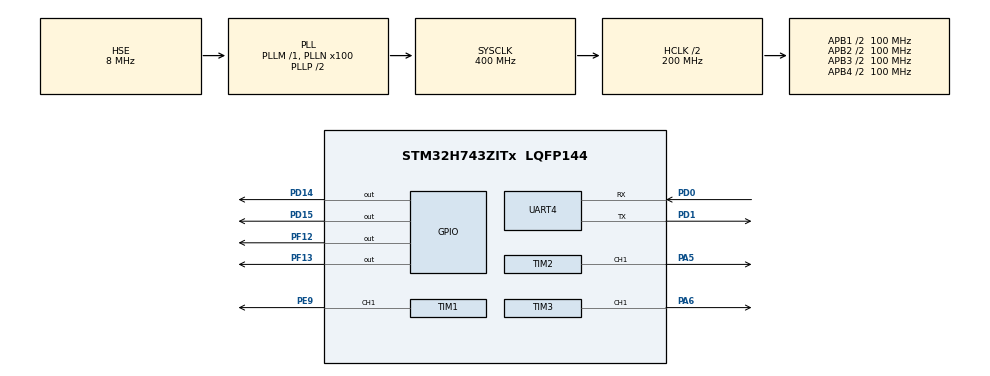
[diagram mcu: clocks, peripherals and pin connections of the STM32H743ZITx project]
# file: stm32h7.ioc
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Dma.Request0=UART4_RX
Dma.Request1=UART4_TX
Dma.UART4_RX.0.Direction=DMA_PERIPH_TO_MEMORY
Dma.UART4_RX.0.EventEnable=DISABLE
Dma.UART4_RX.0.FIFOMode=DMA_FIFOMODE_DISABLE
Dma.UART4_RX.0.Instance=DMA1_Stream0
Dma.UART4_RX.0.MemDataAlignment=DMA_MDATAALIGN_BYTE
Dma.UART4_RX.0.MemInc=DMA_MINC_ENABLE
Dma.UART4_RX.0.Mode=DMA_CIRCULAR
Dma.UART4_RX.0.PeriphDataAlignment=DMA_PDATAALIGN_BYTE
Dma.UART4_RX.0.PeriphInc=DMA_PINC_DISABLE
Dma.UART4_RX.0.Polarity=HAL_DMAMUX_REQ_GEN_RISING
Dma.UART4_RX.0.Priority=DMA_PRIORITY_LOW
Dma.UART4_RX.0.RequestNumber=1
Dma.UART4_RX.0.SyncEnable=DISABLE
Dma.UART4_RX.0.SyncPolarity=HAL_DMAMUX_SYNC_NO_EVENT
Dma.UART4_RX.0.SyncRequestNumber=1
Dma.UART4_TX.1.Direction=DMA_MEMORY_TO_PERIPH
Dma.UART4_TX.1.EventEnable=DISABLE
Dma.UART4_TX.1.FIFOMode=DMA_FIFOMODE_DISABLE
Dma.UART4_TX.1.Instance=DMA1_Stream1
Dma.UART4_TX.1.MemDataAlignment=DMA_MDATAALIGN_BYTE
Dma.UART4_TX.1.MemInc=DMA_MINC_ENABLE
Dma.UART4_TX.1.Mode=DMA_CIRCULAR
Dma.UART4_TX.1.PeriphDataAlignment=DMA_PDATAALIGN_BYTE
Dma.UART4_TX.1.PeriphInc=DMA_PINC_DISABLE
Dma.UART4_TX.1.Polarity=HAL_DMAMUX_REQ_GEN_RISING
Dma.UART4_TX.1.Priority=DMA_PRIORITY_LOW
Dma.UART4_TX.1.RequestNumber=1
Dma.UART4_TX.1.SyncEnable=DISABLE
Dma.UART4_TX.1.SyncPolarity=HAL_DMAMUX_SYNC_NO_EVENT
Dma.UART4_TX.1.SyncRequestNumber=1
Mcu.Family=STM32H7
Mcu.Name=STM32H743ZITx
Mcu.Package=LQFP144
NVIC.DMA1_Stream0_IRQn=true\:0\:0\:false\:false\:true\:false
NVIC.DMA1_Stream1_IRQn=true\:0\:0\:false\:false\:true\:false
NVIC.PriorityGroup=NVIC_PRIORITYGROUP_4
PA13.Mode=Serial_Wire
PA13.Signal=SYS_JTMS-SWDIO
PA14.Mode=Serial_Wire
PA14.Signal=SYS_JTCK-SWCLK
PA5.GPIO_Speed=GPIO_SPEED_FREQ_VERY_HIGH
PA5.Signal=S_TIM2_CH1
PA6.GPIO_Speed=GPIO_SPEED_FREQ_VERY_HIGH
PA6.Signal=S_TIM3_CH1
PD0.GPIO_ModeDefaultPP=GPIO_MODE_AF_PP
PD0.GPIO_PuPd=GPIO_NOPULL
PD0.GPIO_Speed=GPIO_SPEED_FREQ_VERY_HIGH
PD0.Mode=Asynchronous
PD0.Signal=UART4_RX
PD1.GPIO_ModeDefaultPP=GPIO_MODE_AF_PP
PD1.GPIO_PuPd=GPIO_NOPULL
PD1.GPIO_Speed=GPIO_SPEED_FREQ_VERY_HIGH
PD1.Mode=Asynchronous
PD1.Signal=UART4_TX
PD14.GPIO_ModeDefaultOutputPP=GPIO_MODE_OUTPUT_PP
PD14.GPIO_PuPd=GPIO_NOPULL
PD14.GPIO_Speed=GPIO_SPEED_FREQ_VERY_HIGH
PD14.PinState=GPIO_PIN_SET
PD14.Signal=GPIO_Output
PD15.GPIO_Speed=GPIO_SPEED_FREQ_VERY_HIGH
PD15.PinState=GPIO_PIN_SET
PD15.Signal=GPIO_Output
PE9.GPIO_Speed=GPIO_SPEED_FREQ_VERY_HIGH
PE9.Signal=S_TIM1_CH1
PF12.GPIO_Speed=GPIO_SPEED_FREQ_VERY_HIGH
PF12.Signal=GPIO_Output
PF13.GPIO_Speed=GPIO_SPEED_FREQ_VERY_HIGH
PF13.Signal=GPIO_Output
PH0-OSC_IN.Mode=HSE-External-Oscillator
PH0-OSC_IN.Signal=RCC_OSC_IN
PH1-OSC_OUT.Mode=HSE-External-Oscillator
PH1-OSC_OUT.Signal=RCC_OSC_OUT
ProjectManager.HeapSize=0x200
ProjectManager.StackSize=0x400
ProjectManager.TargetToolchain=MDK-ARM V5
RCC.48MHZClocksFreq_Value=24000000
RCC.ADCFreq_Value=16125000
RCC.AHBFreq_Value=216000000
RCC.APB1CLKDivider=RCC_HCLK_DIV4
RCC.APB1Freq_Value=100000000
RCC.APB1TimFreq_Value=108000000
RCC.APB2CLKDivider=RCC_HCLK_DIV2
RCC.APB2Freq_Value=100000000
RCC.APB2TimFreq_Value=216000000
RCC.APB3Freq_Value=100000000
RCC.APB4Freq_Value=100000000
RCC.CortexFreq_Value=400000000
RCC.D1PPRE=RCC_APB3_DIV2
RCC.D2PPRE1=RCC_APB1_DIV2
RCC.D2PPRE2=RCC_APB2_DIV2
RCC.D3PPRE=RCC_APB4_DIV2
RCC.DIVM1=1
RCC.DIVN1=100
RCC.DIVQ1=4
RCC.HCLKFreq_Value=200000000
RCC.HPRE=RCC_HCLK_DIV2
RCC.HSE_VALUE=8000000
RCC.HSI_VALUE=64000000
RCC.PLLM=25
RCC.PLLMUL=RCC_PLL_MUL9
RCC.PLLN=432
RCC.PLLQ=9
RCC.PLLSourceVirtual=RCC_PLLSOURCE_HSE
RCC.PRESCALERUSB=RCC_USBCLKSOURCE_PLL_DIV1_5
RCC.SYSCLKFreq_VALUE=400000000
RCC.SYSCLKSource=RCC_SYSCLKSOURCE_PLLCLK
RCC.SYSCLKSourceVirtual=RCC_SYSCLKSOURCE_PLLCLK
RCC.USBFreq_Value=200000000
RCC.VCOOutputFreq_Value=432000000
SH.S_TIM1_CH1.0=TIM1_CH1,PWM Generation1 CH1
SH.S_TIM2_CH1.0=TIM2_CH1,PWM Generation1 CH1
SH.S_TIM3_CH1.0=TIM3_CH1,PWM Generation1 CH1
TIM1.Channel-PWM\ Generation1\ CH1=TIM_CHANNEL_1
TIM1.Period=65000
TIM1.Prescaler=400
TIM1.TIM_MasterOutputTrigger=TIM_TRGO_UPDATE
TIM2.Channel-PWM\ Generation1\ CH1=TIM_CHANNEL_1
TIM2.Period=65000
TIM2.Prescaler=400
TIM2.TIM_MasterOutputTrigger=TIM_TRGO_UPDATE
TIM3.Channel-PWM\ Generation1\ CH1=TIM_CHANNEL_1
TIM3.Period=65000
TIM3.Prescaler=400
TIM3.TIM_MasterOutputTrigger=TIM_TRGO_UPDATE
TIM4.Period=65535
TIM5.Period=65535
TIM8.Period=65535
VP_TIM1_VS_ClockSourceINT.Mode=Internal
VP_TIM2_VS_ClockSourceINT.Mode=Internal
VP_TIM3_VS_ClockSourceINT.Mode=Internal
VP_TIM4_VS_ClockSourceITR.Mode=TriggerSource_ITR1
VP_TIM4_VS_ControllerModeClock.Mode=Clock Mode
VP_TIM5_VS_ClockSourceITR.Mode=TriggerSource_ITR2
VP_TIM5_VS_ControllerModeClock.Mode=Clock Mode
VP_TIM8_VS_ClockSourceITR.Mode=TriggerSource_ITR0
VP_TIM8_VS_ControllerModeClock.Mode=Clock Mode
board=NUCLEO-H743ZI

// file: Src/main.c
/**
  ******************************************************************************
  * @file           : main.c
  * @brief          : Main program body
  ******************************************************************************
  ** This notice applies to any and all portions of this file
  * that are not between comment pairs USER CODE BEGIN and
  * USER CODE END. Other portions of this file, whether
  * inserted by the user or by software development tools
  * are owned by their respective copyright owners.
  *
  * COPYRIGHT(c) 2018 STMicroelectronics
  *
  * Redistribution and use in source and binary forms, with or without modification,
  * are permitted provided that the following conditions are met:
  *   1. Redistributions of source code must retain the above copyright notice,
  *      this list of conditions and the following disclaimer.
  *   2. Redistributions in binary form must reproduce the above copyright notice,
  *      this list of conditions and the following disclaimer in the documentation
  *      and/or other materials provided with the distribution.
  *   3. Neither the name of STMicroelectronics nor the names of its contributors
  *      may be used to endorse or promote products derived from this software
  *      without specific prior written permission.
  *
  * THIS SOFTWARE IS PROVIDED BY THE COPYRIGHT HOLDERS AND CONTRIBUTORS "AS IS"
  * AND ANY EXPRESS OR IMPLIED WARRANTIES, INCLUDING, BUT NOT LIMITED TO, THE
  * IMPLIED WARRANTIES OF MERCHANTABILITY AND FITNESS FOR A PARTICULAR PURPOSE ARE
  * DISCLAIMED. IN NO EVENT SHALL THE COPYRIGHT HOLDER OR CONTRIBUTORS BE LIABLE
  * FOR ANY DIRECT, INDIRECT, INCIDENTAL, SPECIAL, EXEMPLARY, OR CONSEQUENTIAL
  * DAMAGES (INCLUDING, BUT NOT LIMITED TO, PROCUREMENT OF SUBSTITUTE GOODS OR
  * SERVICES; LOSS OF USE, DATA, OR PROFITS; OR BUSINESS INTERRUPTION) HOWEVER
  * CAUSED AND ON ANY THEORY OF LIABILITY, WHETHER IN CONTRACT, STRICT LIABILITY,
  * OR TORT (INCLUDING NEGLIGENCE OR OTHERWISE) ARISING IN ANY WAY OUT OF THE USE
  * OF THIS SOFTWARE, EVEN IF ADVISED OF THE POSSIBILITY OF SUCH DAMAGE.
  *
  ******************************************************************************
  */
#include "main.h"
#include "stm32h7xx_hal.h"
#include "dma.h"
#include "tim.h"
#include "usart.h"
#include "gpio.h"

/* USER CODE BEGIN Includes */
#include "run.c"
#include "string.h"

/* USER CODE END Includes */

/* USER CODE BEGIN PV */
/* Private variables ---------------------------------------------------------*/

/* USER CODE END PV */

void SystemClock_Config(void);

/* USER CODE BEGIN PFP */
/* Private function prototypes -----------------------------------------------*/

/* USER CODE END PFP */

/* USER CODE BEGIN 0 */
uint8_t rx_buff[9];
int run1=0;
int run2=0;
int run3=0;
int basee=365;
int goc_measured_1=0,goc_measured_2=0,goc_measured_3=0;
/* USER CODE END 0 */

int main(void)
{

  /* MCU Configuration----------------------------------------------------------*/

  /* Reset of all peripherals, Initializes the Flash interface and the Systick. */
  HAL_Init();

  /* Configure the system clock */
  SystemClock_Config();

  /* Initialize all configured peripherals */
  MX_GPIO_Init();
  MX_DMA_Init();
  MX_TIM2_Init();
  MX_TIM3_Init();
  MX_TIM4_Init();
  MX_TIM5_Init();
  MX_TIM8_Init();
  MX_TIM1_Init();
  MX_UART4_Init();
  /* USER CODE BEGIN 2 */
	HAL_TIM_Base_Start(&htim3);
	HAL_TIM_Base_Start(&htim8);
	HAL_TIM_Base_Start(&htim2);
	HAL_TIM_Base_Start(&htim4);
	HAL_TIM_Base_Start(&htim1);
	HAL_TIM_Base_Start(&htim5);

	HAL_TIM_PWM_Start(&htim1,TIM_CHANNEL_1);
	HAL_TIM_PWM_Start(&htim2,TIM_CHANNEL_1);
	HAL_TIM_PWM_Start(&htim3,TIM_CHANNEL_1);

	__HAL_TIM_SET_COMPARE(&htim1,TIM_CHANNEL_1,80);
	__HAL_TIM_SET_COMPARE(&htim3,TIM_CHANNEL_1,80);
	__HAL_TIM_SET_COMPARE(&htim2,TIM_CHANNEL_1,80);

	HAL_UART_Receive_DMA(&huart4,rx_buff,9);

	HAL_Delay(10);
  /* USER CODE END 2 */

  /* Infinite loop */
  /* USER CODE BEGIN WHILE */
  while (1)
  {
		while(rx_buff[0]==NULL)
		{
			goc_measured_1=TIM8->CNT;
			goc_measured_2=TIM4->CNT;
			goc_measured_3=TIM5->CNT;

			run_stepper(1,basee-goc_measured_1);
			run_stepper(2,basee-goc_measured_2);
			run_stepper(3,basee-goc_measured_3);
		}
		while(rx_buff[0]=='a')
		{
			goc_measured_1=TIM8->CNT;
			goc_measured_2=TIM4->CNT;
			goc_measured_3=TIM5->CNT;

			run_stepper(1,basee-goc_measured_1);
			run_stepper(2,basee-goc_measured_2);
			run_stepper(3,basee-goc_measured_3);
		}

			run1=rx_buff[0]*100+rx_buff[1]*10+rx_buff[2]-5328;
			run2=rx_buff[3]*100+rx_buff[4]*10+rx_buff[5]-5328;
			run3=rx_buff[6]*100+rx_buff[7]*10+rx_buff[8]-5328;

			goc_measured_1=TIM8->CNT;
			goc_measured_2=TIM4->CNT;
			goc_measured_3=TIM5->CNT;

			run_stepper(1,run1-TIM8->CNT);
			run_stepper(2,run2-TIM4->CNT);
			run_stepper(3,run3-TIM5->CNT);

  /* USER CODE END WHILE */

  }

}

void SystemClock_Config(void)
{

  RCC_OscInitTypeDef RCC_OscInitStruct;
  RCC_ClkInitTypeDef RCC_ClkInitStruct;
  RCC_PeriphCLKInitTypeDef PeriphClkInitStruct;

    /**Supply configuration update enable
    */
  MODIFY_REG(PWR->CR3, PWR_CR3_SCUEN, 0);

    /**Configure the main internal regulator output voltage
    */
  __HAL_PWR_VOLTAGESCALING_CONFIG(PWR_REGULATOR_VOLTAGE_SCALE1);

  while ((PWR->D3CR & (PWR_D3CR_VOSRDY)) != PWR_D3CR_VOSRDY)
  {

  }
    /**Initializes the CPU, AHB and APB busses clocks
    */
  RCC_OscInitStruct.OscillatorType = RCC_OSCILLATORTYPE_HSE;
  RCC_OscInitStruct.HSEState = RCC_HSE_ON;
  RCC_OscInitStruct.PLL.PLLState = RCC_PLL_ON;
  RCC_OscInitStruct.PLL.PLLSource = RCC_PLLSOURCE_HSE;
  RCC_OscInitStruct.PLL.PLLM = 1;
  RCC_OscInitStruct.PLL.PLLN = 100;
  RCC_OscInitStruct.PLL.PLLP = 2;
  RCC_OscInitStruct.PLL.PLLQ = 4;
  RCC_OscInitStruct.PLL.PLLR = 2;
  RCC_OscInitStruct.PLL.PLLRGE = RCC_PLL1VCIRANGE_3;
  RCC_OscInitStruct.PLL.PLLVCOSEL = RCC_PLL1VCOWIDE;
  RCC_OscInitStruct.PLL.PLLFRACN = 0;
  if (HAL_RCC_OscConfig(&RCC_OscInitStruct) != HAL_OK)
  {
    _Error_Handler(__FILE__, __LINE__);
  }

    /**Initializes the CPU, AHB and APB busses clocks
    */
  RCC_ClkInitStruct.ClockType = RCC_CLOCKTYPE_HCLK|RCC_CLOCKTYPE_SYSCLK
                              |RCC_CLOCKTYPE_PCLK1|RCC_CLOCKTYPE_PCLK2
                              |RCC_CLOCKTYPE_D3PCLK1|RCC_CLOCKTYPE_D1PCLK1;
  RCC_ClkInitStruct.SYSCLKSource = RCC_SYSCLKSOURCE_PLLCLK;
  RCC_ClkInitStruct.SYSCLKDivider = RCC_SYSCLK_DIV1;
  RCC_ClkInitStruct.AHBCLKDivider = RCC_HCLK_DIV2;
  RCC_ClkInitStruct.APB3CLKDivider = RCC_APB3_DIV2;
  RCC_ClkInitStruct.APB1CLKDivider = RCC_APB1_DIV2;
  RCC_ClkInitStruct.APB2CLKDivider = RCC_APB2_DIV2;
  RCC_ClkInitStruct.APB4CLKDivider = RCC_APB4_DIV2;

  if (HAL_RCC_ClockConfig(&RCC_ClkInitStruct, FLASH_LATENCY_2) != HAL_OK)
  {
    _Error_Handler(__FILE__, __LINE__);
  }

  PeriphClkInitStruct.PeriphClockSelection = RCC_PERIPHCLK_UART4;
  PeriphClkInitStruct.Usart234578ClockSelection = RCC_USART234578CLKSOURCE_D2PCLK1;
  if (HAL_RCCEx_PeriphCLKConfig(&PeriphClkInitStruct) != HAL_OK)
  {
    _Error_Handler(__FILE__, __LINE__);
  }

    /**Configure the Systick interrupt time
    */
  HAL_SYSTICK_Config(SystemCoreClock/1000);

    /**Configure the Systick
    */
  HAL_SYSTICK_CLKSourceConfig(SYSTICK_CLKSOURCE_HCLK);

  /* SysTick_IRQn interrupt configuration */
  HAL_NVIC_SetPriority(SysTick_IRQn, 0, 0);
}

/* USER CODE BEGIN 4 */
 void HAL_UART_RxCpltCallback(UART_HandleTypeDef *huart)
	 {
		 __NOP();
	 }
/* USER CODE END 4 */

void _Error_Handler(char *file, int line)
{
  while(1)
  {
  }
}

/************************ (C) COPYRIGHT STMicroelectronics *****END OF FILE****/
